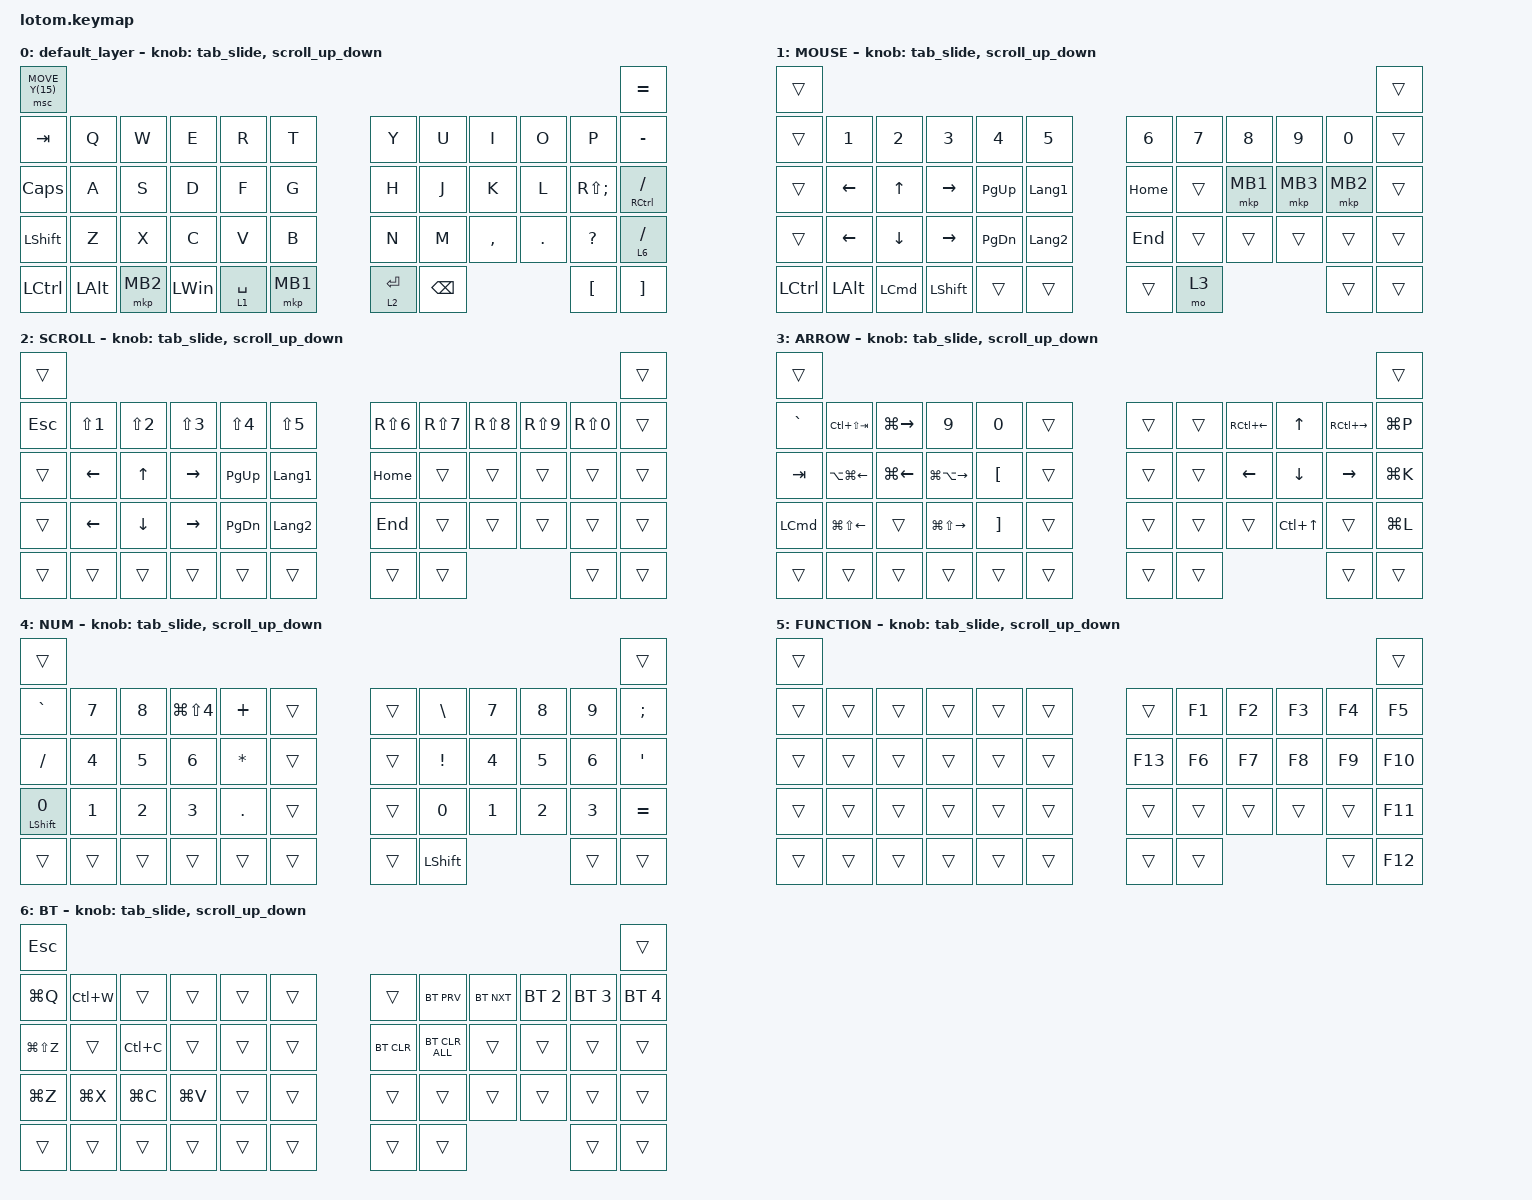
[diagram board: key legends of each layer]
#include <behaviors.dtsi>
#include <dt-bindings/zmk/bt.h>
#include <dt-bindings/zmk/keys.h>
#include <dt-bindings/zmk/pointing.h>

#define ZMK_POINTING_DEFAULT_SCRL_VAL 80

/ {
    behaviors {
        scroll_up_down: behavior_sensor_rotate_mouse_wheel_up_down {
            compatible = "zmk,behavior-sensor-rotate";
            label = "ENCODER_MSC_DOWN_UP";
            #sensor-binding-cells = <0>;
            bindings = <&msc SCRL_DOWN>, <&msc SCRL_UP>;

            tap-ms = <20>;
        };

        tab_slide: behavior_sensor_rotate_tab_slide {
            compatible = "zmk,behavior-sensor-rotate";
            label = "ENCODER_TAB_SLIDE";
            #sensor-binding-cells = <0>;
            bindings = <&kp LA(LG(RIGHT_ARROW))>, <&kp LA(LG(LEFT_ARROW))>;

            tap-ms = <20>;
        };
    };

    keymap {
        compatible = "zmk,keymap";

        default_layer {
            bindings = <
&msc MOVE_Y(15)  &kp EQUAL
&kp TAB          &kp Q         &kp W     &kp E         &kp R        &kp T     &kp Y        &kp U          &kp I             &kp O              &kp P              &kp MINUS
&kp CLCK         &kp A         &kp S     &kp D         &kp F        &kp G     &kp H        &kp J          &kp K             &kp L              &kp RS(SEMICOLON)  &mt RIGHT_CONTROL SLASH
&kp LEFT_SHIFT   &kp Z         &kp X     &kp C         &kp V        &kp B     &kp N        &kp M          &kp COMMA         &kp PERIOD         &kp QUESTION       &lt 6 SLASH
&kp LCTRL        &kp LEFT_ALT  &mkp MB2  &kp LEFT_WIN  &lt 1 SPACE  &mkp MB1  &lt 2 ENTER  &kp BACKSPACE  &kp LEFT_BRACKET  &kp RIGHT_BRACKET
            >;

            sensor-bindings = <
                &tab_slide
                &scroll_up_down
            >;
        };

        MOUSE {
            bindings = <
&trans     &trans
&trans     &kp NUMBER_1  &kp NUMBER_2      &kp NUMBER_3    &kp NUMBER_4   &kp N5          &kp NUMBER_6  &kp N7  &kp N8    &kp N9    &kp N0    &trans
&trans     &kp LEFT      &kp UP_ARROW      &kp RIGHT       &kp PAGE_UP    &kp LANGUAGE_1  &kp HOME      &trans  &mkp MB1  &mkp MB3  &mkp MB2  &trans
&trans     &kp LEFT      &kp DOWN          &kp RIGHT       &kp PAGE_DOWN  &kp LANGUAGE_2  &kp END       &trans  &trans    &trans    &trans    &trans
&kp LCTRL  &kp LEFT_ALT  &kp LEFT_COMMAND  &kp LEFT_SHIFT  &trans         &trans          &trans        &mo 3   &trans    &trans
            >;

            sensor-bindings = <
                &tab_slide
                &scroll_up_down
            >;
        };

        SCROLL {
            bindings = <
&trans      &trans
&kp ESCAPE  &kp LS(NUMBER_1)  &kp LS(NUMBER_2)  &kp LS(NUMBER_3)  &kp LS(NUMBER_4)  &kp LS(N5)      &kp RS(NUMBER_6)  &kp RS(N7)  &kp RS(N8)  &kp RS(N9)  &kp RS(N0)  &trans
&trans      &kp LEFT          &kp UP_ARROW      &kp RIGHT         &kp PAGE_UP       &kp LANGUAGE_1  &kp HOME          &trans      &trans      &trans      &trans      &trans
&trans      &kp LEFT          &kp DOWN          &kp RIGHT         &kp PAGE_DOWN     &kp LANGUAGE_2  &kp END           &trans      &trans      &trans      &trans      &trans
&trans      &trans            &trans            &trans            &trans            &trans          &trans            &trans      &trans      &trans
            >;

            sensor-bindings = <
                &tab_slide
                &scroll_up_down
            >;
        };

        ARROW {
            bindings = <
&trans     &trans
&kp GRAVE  &kp LC(LS(TAB))         &kp LG(RIGHT)  &kp NUMBER_9             &kp NUMBER_0       &trans  &trans  &trans  &kp RC(LEFT_ARROW)  &kp UP_ARROW      &kp RC(RIGHT_ARROW)  &kp LG(P)
&kp TAB    &kp LA(LG(LEFT_ARROW))  &kp LG(LEFT)   &kp LG(LA(RIGHT_ARROW))  &kp LEFT_BRACKET   &trans  &trans  &trans  &kp LEFT_ARROW      &kp DOWN_ARROW    &kp RIGHT_ARROW      &kp LG(K)
&kp LCMD   &kp LG(LS(LEFT_ARROW))  &trans         &kp LG(LS(RIGHT_ARROW))  &kp RIGHT_BRACKET  &trans  &trans  &trans  &trans              &kp LC(UP_ARROW)  &trans               &kp LG(L)
&trans     &trans                  &trans         &trans                   &trans             &trans  &trans  &trans  &trans              &trans
            >;

            sensor-bindings = <
                &tab_slide
                &scroll_up_down
            >;
        };

        NUM {
            bindings = <
&trans                   &trans
&kp GRAVE                &kp NUMBER_7  &kp NUMBER_8  &kp LG(LS(NUMBER_4))  &kp PLUS      &trans  &trans  &kp BACKSLASH    &kp NUMBER_7  &kp NUMBER_8  &kp NUMBER_9  &kp SEMICOLON
&kp SLASH                &kp NUMBER_4  &kp NUMBER_5  &kp NUMBER_6          &kp ASTERISK  &trans  &trans  &kp EXCLAMATION  &kp NUMBER_4  &kp NUMBER_5  &kp NUMBER_6  &kp SQT
&mt LEFT_SHIFT NUMBER_0  &kp NUMBER_1  &kp NUMBER_2  &kp NUMBER_3          &kp PERIOD    &trans  &trans  &kp NUMBER_0     &kp NUMBER_1  &kp NUMBER_2  &kp NUMBER_3  &kp EQUAL
&trans                   &trans        &trans        &trans                &trans        &trans  &trans  &kp LEFT_SHIFT   &trans        &trans
            >;

            sensor-bindings = <
                &tab_slide
                &scroll_up_down
            >;
        };

        FUNCTION {
            bindings = <
&trans  &trans
&trans  &trans  &trans  &trans  &trans  &trans  &trans   &kp F1  &kp F2  &kp F3   &kp F4  &kp F5
&trans  &trans  &trans  &trans  &trans  &trans  &kp F13  &kp F6  &kp F7  &kp F8   &kp F9  &kp F10
&trans  &trans  &trans  &trans  &trans  &trans  &trans   &trans  &trans  &trans   &trans  &kp F11
&trans  &trans  &trans  &trans  &trans  &trans  &trans   &trans  &trans  &kp F12
            >;

            sensor-bindings = <
                &tab_slide
                &scroll_up_down
            >;
        };

        BT {
            bindings = <
&kp ESCAPE     &trans
&kp LG(Q)      &kp LC(W)  &trans     &trans     &trans  &trans  &trans      &bt BT_PRV      &bt BT_NXT  &bt BT_SEL 2  &bt BT_SEL 3  &bt BT_SEL 4
&kp LG(LS(Z))  &trans     &kp LC(C)  &trans     &trans  &trans  &bt BT_CLR  &bt BT_CLR_ALL  &trans      &trans        &trans        &trans
&kp LG(Z)      &kp LG(X)  &kp LG(C)  &kp LG(V)  &trans  &trans  &trans      &trans          &trans      &trans        &trans        &trans
&trans         &trans     &trans     &trans     &trans  &trans  &trans      &trans          &trans      &trans
            >;

            sensor-bindings = <
                &tab_slide
                &scroll_up_down
            >;
        };
    };
};
